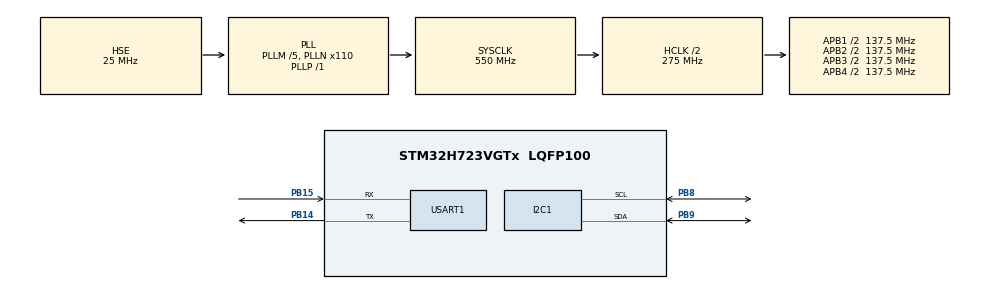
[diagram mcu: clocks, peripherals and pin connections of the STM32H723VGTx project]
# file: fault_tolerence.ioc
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CORTEX_M7.default_mode_Activation=1
FREERTOS.Tasks01=defaultTask,24,128,StartDefaultTask,Default,NULL,Dynamic,NULL,NULL
I2C1.Timing=0xD0922E33
Mcu.Family=STM32H7
Mcu.Name=STM32H723VGTx
Mcu.Package=LQFP100
NVIC.PriorityGroup=NVIC_PRIORITYGROUP_4
NVIC.TIM6_DAC_IRQn=true\:15\:0\:false\:false\:true\:false\:false\:true\:true
NVIC.TimeBase=TIM6_DAC_IRQn
NVIC.TimeBaseIP=TIM6
PB14.Mode=Asynchronous
PB14.Signal=USART1_TX
PB15.Mode=Asynchronous
PB15.Signal=USART1_RX
PB8.Mode=I2C
PB8.Signal=I2C1_SCL
PB9.Mode=I2C
PB9.Signal=I2C1_SDA
PH0-OSC_IN.Mode=HSE-External-Oscillator
PH0-OSC_IN.Signal=RCC_OSC_IN
PH1-OSC_OUT.Mode=HSE-External-Oscillator
PH1-OSC_OUT.Signal=RCC_OSC_OUT
ProjectManager.HeapSize=0x200
ProjectManager.StackSize=0x400
ProjectManager.TargetToolchain=STM32CubeIDE
RCC.ADCFreq_Value=50390625
RCC.APB1Freq_Value=137500000
RCC.APB2Freq_Value=137500000
RCC.APB3Freq_Value=137500000
RCC.APB4Freq_Value=137500000
RCC.CortexFreq_Value=550000000
RCC.D1PPRE=RCC_APB3_DIV2
RCC.D2PPRE1=RCC_APB1_DIV2
RCC.D2PPRE2=RCC_APB2_DIV2
RCC.D3PPRE=RCC_APB4_DIV2
RCC.DIVM1=5
RCC.DIVN1=110
RCC.DIVP1=1
RCC.HCLKFreq_Value=275000000
RCC.HPRE=RCC_HCLK_DIV2
RCC.PLLSourceVirtual=RCC_PLLSOURCE_HSE
RCC.SYSCLKFreq_VALUE=550000000
RCC.SYSCLKSource=RCC_SYSCLKSOURCE_PLLCLK
RCC.USBFreq_Value=275000000
USART1.VirtualMode-Asynchronous=VM_ASYNC
VP_FREERTOS_VS_CMSIS_V2.Mode=CMSIS_V2
VP_MEMORYMAP_VS_MEMORYMAP.Mode=CurAppReg
VP_SYS_VS_tim6.Mode=TIM6
board=custom

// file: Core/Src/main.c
/* USER CODE BEGIN Header */
/**
  ******************************************************************************
  * @file           : main.c
  * @brief          : Main program body
  ******************************************************************************
  * @attention
  *
  * Copyright (c) 2026 STMicroelectronics.
  * All rights reserved.
  *
  * This software is licensed under terms that can be found in the LICENSE file
  * in the root directory of this software component.
  * If no LICENSE file comes with this software, it is provided AS-IS.
  *
  ******************************************************************************
  */
/* USER CODE END Header */
#include "main.h"
#include "FreeRTOS.h"
#include "cmsis_os2.h"

/* USER CODE BEGIN Includes */
#include "app.h"
#include <stdio.h>
/* USER CODE END Includes */

I2C_HandleTypeDef hi2c1;

UART_HandleTypeDef huart1;

/* Definitions for defaultTask */
osThreadId_t defaultTaskHandle;
const osThreadAttr_t defaultTask_attributes = {
  .name = "defaultTask",
  .stack_size = 128 * 4,
  .priority = (osPriority_t) osPriorityNormal,
};
/* USER CODE BEGIN PV */
static uint8_t i2c_bus_idle_scl;
static uint8_t i2c_bus_idle_sda;
static uint8_t i2c_bus_pullup_scl;
static uint8_t i2c_bus_pullup_sda;

/* USER CODE END PV */

void SystemClock_Config(void);
static void MPU_Config(void);
static void MX_GPIO_Init(void);
static void MX_I2C1_Init(void);
static void MX_USART1_UART_Init(void);
void StartDefaultTask(void *argument);

/* USER CODE BEGIN PFP */
static void MPU6050_RawI2cDiagnostic(void);
/* USER CODE END PFP */

/* USER CODE BEGIN 0 */

void I2C1_ClearBus(void)
{
  GPIO_InitTypeDef gpio = {0};
  __HAL_RCC_GPIOB_CLK_ENABLE();
  gpio.Pin = GPIO_PIN_8 | GPIO_PIN_9;
  gpio.Mode = GPIO_MODE_OUTPUT_OD;
  gpio.Pull = GPIO_PULLUP;
  gpio.Speed = GPIO_SPEED_FREQ_LOW;
  HAL_GPIO_Init(GPIOB, &gpio);

  HAL_GPIO_WritePin(GPIOB, GPIO_PIN_8 | GPIO_PIN_9, GPIO_PIN_SET);
  for (volatile uint32_t delay = 0U; delay < 1000U; ++delay) { __NOP(); }
  for (uint32_t pulse = 0U; pulse < 16U; ++pulse)
  {
    if ((pulse >= 9U) && (HAL_GPIO_ReadPin(GPIOB, GPIO_PIN_9) == GPIO_PIN_SET)) break;
    HAL_GPIO_WritePin(GPIOB, GPIO_PIN_8, GPIO_PIN_RESET);
    for (volatile uint32_t delay = 0U; delay < 1000U; ++delay) { __NOP(); }
    HAL_GPIO_WritePin(GPIOB, GPIO_PIN_8, GPIO_PIN_SET);
    for (volatile uint32_t delay = 0U; delay < 1000U; ++delay) { __NOP(); }
  }
  HAL_GPIO_WritePin(GPIOB, GPIO_PIN_9, GPIO_PIN_RESET);
  for (volatile uint32_t delay = 0U; delay < 1000U; ++delay) { __NOP(); }
  HAL_GPIO_WritePin(GPIOB, GPIO_PIN_8, GPIO_PIN_SET);
  for (volatile uint32_t delay = 0U; delay < 1000U; ++delay) { __NOP(); }
  HAL_GPIO_WritePin(GPIOB, GPIO_PIN_9, GPIO_PIN_SET);
  for (volatile uint32_t delay = 0U; delay < 1000U; ++delay) { __NOP(); }
}

/* USER CODE END 0 */

int main(void)
{

  /* MPU Configuration--------------------------------------------------------*/
  MPU_Config();

  /* MCU Configuration--------------------------------------------------------*/

  /* Reset of all peripherals, Initializes the Flash interface and the Systick. */
  HAL_Init();

  /* USER CODE BEGIN Init */
  App_CaptureResetDiagnostics();

  /* USER CODE END Init */

  /* Configure the system clock */
  SystemClock_Config();

  /* Initialize all configured peripherals */
  MX_GPIO_Init();
  /* Capture PB8/PB9 electrical levels before I2C1 claims the pins. */
  GPIO_InitTypeDef i2c_bus_probe = {0};
  __HAL_RCC_GPIOB_CLK_ENABLE();
  i2c_bus_probe.Pin = GPIO_PIN_8 | GPIO_PIN_9;
  i2c_bus_probe.Mode = GPIO_MODE_INPUT;
  i2c_bus_probe.Pull = GPIO_NOPULL;
  i2c_bus_probe.Speed = GPIO_SPEED_FREQ_LOW;
  HAL_GPIO_Init(GPIOB, &i2c_bus_probe);
  i2c_bus_idle_scl = (HAL_GPIO_ReadPin(GPIOB, GPIO_PIN_8) == GPIO_PIN_SET) ? 1U : 0U;
  i2c_bus_idle_sda = (HAL_GPIO_ReadPin(GPIOB, GPIO_PIN_9) == GPIO_PIN_SET) ? 1U : 0U;
  i2c_bus_probe.Pull = GPIO_PULLUP;
  HAL_GPIO_Init(GPIOB, &i2c_bus_probe);
  i2c_bus_pullup_scl = (HAL_GPIO_ReadPin(GPIOB, GPIO_PIN_8) == GPIO_PIN_SET) ? 1U : 0U;
  i2c_bus_pullup_sda = (HAL_GPIO_ReadPin(GPIOB, GPIO_PIN_9) == GPIO_PIN_SET) ? 1U : 0U;
  I2C1_ClearBus();
  MX_I2C1_Init();
  MX_USART1_UART_Init();
  /* USER CODE BEGIN 2 */
  /* Independent of FreeRTOS, mutexes, sensor access, and the watchdog. */
  static const uint8_t uart_startup_banner[] =
      "\r\n[BOOT] USART1 PB14 TX READY @ 115200 8N1\r\n";
  (void)HAL_UART_Transmit(&huart1, (uint8_t *)uart_startup_banner,
                          sizeof(uart_startup_banner) - 1U, 100U);
  static const char *const i2c_level_name[] = { "LOW", "HIGH" };
  char i2c_bus_message[56];
  int i2c_bus_length = snprintf(i2c_bus_message, sizeof(i2c_bus_message),
                                "[I2C BUS] PB8/SCL=%s PB9/SDA=%s\r\n",
                                i2c_level_name[i2c_bus_idle_scl],
                                i2c_level_name[i2c_bus_idle_sda]);
  if (i2c_bus_length > 0)
  {
    (void)HAL_UART_Transmit(&huart1, (uint8_t *)i2c_bus_message,
                            (uint16_t)i2c_bus_length, 100U);
  }
  i2c_bus_length = snprintf(i2c_bus_message, sizeof(i2c_bus_message),
                            "[I2C PULLUP TEST] PB8/SCL=%s PB9/SDA=%s\r\n",
                            i2c_level_name[i2c_bus_pullup_scl],
                            i2c_level_name[i2c_bus_pullup_sda]);
  if (i2c_bus_length > 0)
  {
    (void)HAL_UART_Transmit(&huart1, (uint8_t *)i2c_bus_message,
                            (uint16_t)i2c_bus_length, 100U);
  }
  MPU6050_RawI2cDiagnostic();
  App_Initialize(&hi2c1, &huart1);
  static const uint8_t app_initialized_message[] = "[APP] App_Initialize OK\r\n";
  (void)HAL_UART_Transmit(&huart1, (uint8_t *)app_initialized_message,
                          sizeof(app_initialized_message) - 1U, 100U);

  /* USER CODE END 2 */

  /* Init scheduler */
  osKernelInitialize();

  /* Create the thread(s) */
  /* creation of defaultTask */
  defaultTaskHandle = osThreadNew(StartDefaultTask, NULL, &defaultTask_attributes);

  /* USER CODE BEGIN RTOS_THREADS */
  if (App_CreateTasks() != pdPASS)
  {
    static const uint8_t tasks_failed_message[] = "[APP] Task/IWDG setup FAILED\r\n";
    (void)HAL_UART_Transmit(&huart1, (uint8_t *)tasks_failed_message,
                            sizeof(tasks_failed_message) - 1U, 100U);
    Error_Handler();
  }
  static const uint8_t tasks_created_message[] = "[RTOS] Tasks created; IWDG started\r\n";
  (void)HAL_UART_Transmit(&huart1, (uint8_t *)tasks_created_message,
                          sizeof(tasks_created_message) - 1U, 100U);
  /* USER CODE END RTOS_THREADS */

  /* Start scheduler */
  osKernelStart();

  /* We should never get here as control is now taken by the scheduler */

  /* Infinite loop */
  while (1)
  {

  }
}

void SystemClock_Config(void)
{
  RCC_OscInitTypeDef RCC_OscInitStruct = {0};
  RCC_ClkInitTypeDef RCC_ClkInitStruct = {0};

  /** Supply configuration update enable
  */
  HAL_PWREx_ConfigSupply(PWR_LDO_SUPPLY);

  /** Configure the main internal regulator output voltage
  */
  __HAL_PWR_VOLTAGESCALING_CONFIG(PWR_REGULATOR_VOLTAGE_SCALE0);

  while(!__HAL_PWR_GET_FLAG(PWR_FLAG_VOSRDY)) {}

  /** Initializes the RCC Oscillators according to the specified parameters
  * in the RCC_OscInitTypeDef structure.
  */
  RCC_OscInitStruct.OscillatorType = RCC_OSCILLATORTYPE_HSE;
  RCC_OscInitStruct.HSEState = RCC_HSE_ON;
  RCC_OscInitStruct.PLL.PLLState = RCC_PLL_ON;
  RCC_OscInitStruct.PLL.PLLSource = RCC_PLLSOURCE_HSE;
  RCC_OscInitStruct.PLL.PLLM = 5;
  RCC_OscInitStruct.PLL.PLLN = 110;
  RCC_OscInitStruct.PLL.PLLP = 1;
  RCC_OscInitStruct.PLL.PLLQ = 2;
  RCC_OscInitStruct.PLL.PLLR = 2;
  RCC_OscInitStruct.PLL.PLLRGE = RCC_PLL1VCIRANGE_2;
  RCC_OscInitStruct.PLL.PLLVCOSEL = RCC_PLL1VCOWIDE;
  RCC_OscInitStruct.PLL.PLLFRACN = 0;
  if (HAL_RCC_OscConfig(&RCC_OscInitStruct) != HAL_OK)
  {
    Error_Handler();
  }

  /** Initializes the CPU, AHB and APB buses clocks
  */
  RCC_ClkInitStruct.ClockType = RCC_CLOCKTYPE_HCLK|RCC_CLOCKTYPE_SYSCLK
                              |RCC_CLOCKTYPE_PCLK1|RCC_CLOCKTYPE_PCLK2
                              |RCC_CLOCKTYPE_D3PCLK1|RCC_CLOCKTYPE_D1PCLK1;
  RCC_ClkInitStruct.SYSCLKSource = RCC_SYSCLKSOURCE_PLLCLK;
  RCC_ClkInitStruct.SYSCLKDivider = RCC_SYSCLK_DIV1;
  RCC_ClkInitStruct.AHBCLKDivider = RCC_HCLK_DIV2;
  RCC_ClkInitStruct.APB3CLKDivider = RCC_APB3_DIV2;
  RCC_ClkInitStruct.APB1CLKDivider = RCC_APB1_DIV2;
  RCC_ClkInitStruct.APB2CLKDivider = RCC_APB2_DIV2;
  RCC_ClkInitStruct.APB4CLKDivider = RCC_APB4_DIV2;

  if (HAL_RCC_ClockConfig(&RCC_ClkInitStruct, FLASH_LATENCY_3) != HAL_OK)
  {
    Error_Handler();
  }
}

static void MX_I2C1_Init(void)
{

  hi2c1.Instance = I2C1;
  hi2c1.Init.Timing = 0xD0922E33;
  hi2c1.Init.OwnAddress1 = 0;
  hi2c1.Init.AddressingMode = I2C_ADDRESSINGMODE_7BIT;
  hi2c1.Init.DualAddressMode = I2C_DUALADDRESS_DISABLE;
  hi2c1.Init.OwnAddress2 = 0;
  hi2c1.Init.OwnAddress2Masks = I2C_OA2_NOMASK;
  hi2c1.Init.GeneralCallMode = I2C_GENERALCALL_DISABLE;
  hi2c1.Init.NoStretchMode = I2C_NOSTRETCH_DISABLE;
  if (HAL_I2C_Init(&hi2c1) != HAL_OK)
  {
    Error_Handler();
  }

  /** Configure Analogue filter
  */
  if (HAL_I2CEx_ConfigAnalogFilter(&hi2c1, I2C_ANALOGFILTER_ENABLE) != HAL_OK)
  {
    Error_Handler();
  }

  /** Configure Digital filter
  */
  if (HAL_I2CEx_ConfigDigitalFilter(&hi2c1, 0) != HAL_OK)
  {
    Error_Handler();
  }

}

static void MX_USART1_UART_Init(void)
{

  huart1.Instance = USART1;
  huart1.Init.BaudRate = 115200;
  huart1.Init.WordLength = UART_WORDLENGTH_8B;
  huart1.Init.StopBits = UART_STOPBITS_1;
  huart1.Init.Parity = UART_PARITY_NONE;
  huart1.Init.Mode = UART_MODE_TX_RX;
  huart1.Init.HwFlowCtl = UART_HWCONTROL_NONE;
  huart1.Init.OverSampling = UART_OVERSAMPLING_16;
  huart1.Init.OneBitSampling = UART_ONE_BIT_SAMPLE_DISABLE;
  huart1.Init.ClockPrescaler = UART_PRESCALER_DIV1;
  huart1.AdvancedInit.AdvFeatureInit = UART_ADVFEATURE_NO_INIT;
  if (HAL_UART_Init(&huart1) != HAL_OK)
  {
    Error_Handler();
  }
  if (HAL_UARTEx_SetTxFifoThreshold(&huart1, UART_TXFIFO_THRESHOLD_1_8) != HAL_OK)
  {
    Error_Handler();
  }
  if (HAL_UARTEx_SetRxFifoThreshold(&huart1, UART_RXFIFO_THRESHOLD_1_8) != HAL_OK)
  {
    Error_Handler();
  }
  if (HAL_UARTEx_DisableFifoMode(&huart1) != HAL_OK)
  {
    Error_Handler();
  }

}

static void MX_GPIO_Init(void)
{

  /* GPIO Ports Clock Enable */
  __HAL_RCC_GPIOH_CLK_ENABLE();
  __HAL_RCC_GPIOB_CLK_ENABLE();

}

/* USER CODE BEGIN 4 */

/* Direct, pre-RTOS I2C probe: address 0x68 is shifted exactly once for HAL. */
static void MPU6050_RawI2cDiagnostic(void)
{
  char message[160];
  uint8_t who_am_i = 0U, pwr_before = 0U, pwr_after = 0U, raw[14] = {0};
  HAL_StatusTypeDef normal, normal_initial, pullup = HAL_ERROR, who = HAL_ERROR, pwr = HAL_ERROR, data = HAL_ERROR;
  uint32_t error, isr_before, isr_after;
  uint8_t pullup_ran = 0U, who_ran = 0U, pwr_ran = 0U, data_ran = 0U;
  GPIO_InitTypeDef gpio = {0};
  int length;

#define I2C_DIAG_PRINT(...) do { \
  length = snprintf(message, sizeof(message), __VA_ARGS__); \
  if (length > 0) (void)HAL_UART_Transmit(&huart1, (uint8_t *)message, (uint16_t)length, 200U); \
} while (0)

  I2C_DIAG_PRINT("[I2C CFG] source=D2PCLK1 PCLK1=%lu TIMING=0x%08lX CR1=0x%08lX CR2=0x%08lX ISR=0x%08lX PE=%lu\r\n",
                 (unsigned long)HAL_RCC_GetPCLK1Freq(),
                 (unsigned long)hi2c1.Init.Timing, (unsigned long)I2C1->CR1,
                 (unsigned long)I2C1->CR2, (unsigned long)I2C1->ISR,
                 (unsigned long)((I2C1->CR1 & I2C_CR1_PE) != 0U));
  I2C_DIAG_PRINT("[I2C CFG] addrmode=%lu own=0x%lX dual=%lu general=%lu nostretch=%lu\r\n",
                 (unsigned long)hi2c1.Init.AddressingMode, (unsigned long)hi2c1.Init.OwnAddress1,
                 (unsigned long)hi2c1.Init.DualAddressMode, (unsigned long)hi2c1.Init.GeneralCallMode,
                 (unsigned long)hi2c1.Init.NoStretchMode);
  isr_before = I2C1->ISR;
  I2C_DIAG_PRINT("[I2C BEFORE] ISR=0x%08lX state=%lu error=0x%08lX SCL=%u SDA=%u\r\n",
                 (unsigned long)isr_before, (unsigned long)HAL_I2C_GetState(&hi2c1),
                 (unsigned long)HAL_I2C_GetError(&hi2c1),
                 (unsigned)HAL_GPIO_ReadPin(GPIOB, GPIO_PIN_8), (unsigned)HAL_GPIO_ReadPin(GPIOB, GPIO_PIN_9));

  normal = HAL_I2C_IsDeviceReady(&hi2c1, (uint16_t)(0x68U << 1), 3U, 100U);
  normal_initial = normal;
  error = HAL_I2C_GetError(&hi2c1); isr_after = I2C1->ISR;
  I2C_DIAG_PRINT("[I2C TEST] addr=0x68 status=%d error=0x%08lX state=%lu ISR=0x%08lX SCL=%u SDA=%u\r\n",
                 (int)normal, (unsigned long)error, (unsigned long)HAL_I2C_GetState(&hi2c1),
                 (unsigned long)isr_after, (unsigned)HAL_GPIO_ReadPin(GPIOB, GPIO_PIN_8),
                 (unsigned)HAL_GPIO_ReadPin(GPIOB, GPIO_PIN_9));

  if (normal != HAL_OK) {
    /* Diagnostic variant only: AF4 I2C open-drain with internal pull-ups. */
    (void)HAL_I2C_DeInit(&hi2c1);
    MX_I2C1_Init();
    gpio.Pin = GPIO_PIN_8 | GPIO_PIN_9; gpio.Mode = GPIO_MODE_AF_OD;
    gpio.Pull = GPIO_PULLUP; gpio.Speed = GPIO_SPEED_FREQ_LOW; gpio.Alternate = GPIO_AF4_I2C1;
    HAL_GPIO_Init(GPIOB, &gpio);
    pullup_ran = 1U;
    pullup = HAL_I2C_IsDeviceReady(&hi2c1, (uint16_t)(0x68U << 1), 3U, 100U);
    error = HAL_I2C_GetError(&hi2c1);
    I2C_DIAG_PRINT("[I2C INTERNAL PU TEST] status=%d error=0x%08lX state=%lu ISR=0x%08lX SCL=%u SDA=%u\r\n",
                   (int)pullup, (unsigned long)error, (unsigned long)HAL_I2C_GetState(&hi2c1),
                   (unsigned long)I2C1->ISR, (unsigned)HAL_GPIO_ReadPin(GPIOB, GPIO_PIN_8),
                   (unsigned)HAL_GPIO_ReadPin(GPIOB, GPIO_PIN_9));
    (void)HAL_I2C_DeInit(&hi2c1);
    MX_I2C1_Init(); /* Final normal CubeMX AF4, open-drain, GPIO_NOPULL restoration. */
  }

  if (normal == HAL_OK) {
    who_ran = 1U;
    who = HAL_I2C_Mem_Read(&hi2c1, (uint16_t)(0x68U << 1), 0x75U, I2C_MEMADD_SIZE_8BIT, &who_am_i, 1U, 100U);
    I2C_DIAG_PRINT("[I2C TEST] WHO_AM_I status=%d value=0x%02X error=0x%08lX\r\n", (int)who, who_am_i, (unsigned long)HAL_I2C_GetError(&hi2c1));
    if (who == HAL_OK) {
      pwr_ran = 1U;
      pwr = HAL_I2C_Mem_Read(&hi2c1, (uint16_t)(0x68U << 1), 0x6BU, I2C_MEMADD_SIZE_8BIT, &pwr_before, 1U, 100U);
      if (pwr == HAL_OK) pwr = HAL_I2C_Mem_Write(&hi2c1, (uint16_t)(0x68U << 1), 0x6BU, I2C_MEMADD_SIZE_8BIT, (uint8_t[]){0U}, 1U, 100U);
      HAL_Delay(100U);
      if (pwr == HAL_OK) pwr = HAL_I2C_Mem_Read(&hi2c1, (uint16_t)(0x68U << 1), 0x6BU, I2C_MEMADD_SIZE_8BIT, &pwr_after, 1U, 100U);
      I2C_DIAG_PRINT("[I2C TEST] PWR_MGMT_1 status=%d before=0x%02X after=0x%02X error=0x%08lX\r\n", (int)pwr, pwr_before, pwr_after, (unsigned long)HAL_I2C_GetError(&hi2c1));
      if (pwr == HAL_OK) {
        data_ran = 1U;
        data = HAL_I2C_Mem_Read(&hi2c1, (uint16_t)(0x68U << 1), 0x3BU, I2C_MEMADD_SIZE_8BIT, raw, sizeof(raw), 100U);
      }
      I2C_DIAG_PRINT("[I2C TEST] 14-BYTE status=%d error=0x%08lX %02X %02X %02X %02X %02X %02X %02X %02X %02X %02X %02X %02X %02X %02X\r\n",
                     (int)data, (unsigned long)HAL_I2C_GetError(&hi2c1), raw[0],raw[1],raw[2],raw[3],raw[4],raw[5],raw[6],raw[7],raw[8],raw[9],raw[10],raw[11],raw[12],raw[13]);
    }
  }

  normal = HAL_I2C_IsDeviceReady(&hi2c1, (uint16_t)(0x68U << 1), 3U, 100U);
  error = HAL_I2C_GetError(&hi2c1);
  I2C_DIAG_PRINT("========== I2C DIAGNOSTIC SUMMARY ==========\r\n");
  I2C_DIAG_PRINT("GPIO NOPULL:       SCL=%s SDA=%s\r\n", i2c_bus_idle_scl ? "HIGH" : "LOW", i2c_bus_idle_sda ? "HIGH" : "LOW");
  I2C_DIAG_PRINT("GPIO PULLUP:       SCL=%s SDA=%s\r\n", i2c_bus_pullup_scl ? "HIGH" : "LOW", i2c_bus_pullup_sda ? "HIGH" : "LOW");
  I2C_DIAG_PRINT("I2C TIMINGR:       0x%08lX; ISR BEFORE: 0x%08lX\r\n", (unsigned long)I2C1->TIMINGR, (unsigned long)isr_before);
  I2C_DIAG_PRINT("I2C READY NORMAL:  %s; PULLUP: %s\r\n", normal_initial == HAL_OK ? "PASS" : "FAIL", pullup_ran ? (pullup == HAL_OK ? "PASS" : "FAIL") : "NOT_RUN");
  I2C_DIAG_PRINT("WHO_AM_I:          %s; PWR_MGMT_1: %s; 14-BYTE: %s\r\n", who_ran ? (who == HAL_OK ? "PASS" : "FAIL") : "NOT_RUN", pwr_ran ? (pwr == HAL_OK ? "PASS" : "FAIL") : "NOT_RUN", data_ran ? (data == HAL_OK ? "PASS" : "FAIL") : "NOT_RUN");
  I2C_DIAG_PRINT("FINAL NORMAL TEST: %s; HAL ERROR: 0x%08lX\r\n", normal == HAL_OK ? "PASS" : "FAIL", (unsigned long)error);
  I2C_DIAG_PRINT("LIKELY FAULT DOMAIN: %s\r\n==============================================\r\n", (normal_initial != HAL_OK && pullup_ran && pullup == HAL_OK) ? "PULL-UP" : (normal_initial != HAL_OK) ? "BUS / PERIPHERAL" : (who_ran && who != HAL_OK) ? "MPU REGISTER ACCESS" : "APPLICATION");
#undef I2C_DIAG_PRINT
}

/* USER CODE END 4 */

void StartDefaultTask(void *argument)
{
  for(;;)
  {
    osDelay(1);
  }
}

 /* MPU Configuration */

void MPU_Config(void)
{
  MPU_Region_InitTypeDef MPU_InitStruct = {0};

  /* Disables the MPU */
  HAL_MPU_Disable();

  /** Initializes and configures the Region and the memory to be protected
  */
  MPU_InitStruct.Enable = MPU_REGION_ENABLE;
  MPU_InitStruct.Number = MPU_REGION_NUMBER0;
  MPU_InitStruct.BaseAddress = 0x0;
  MPU_InitStruct.Size = MPU_REGION_SIZE_4GB;
  MPU_InitStruct.SubRegionDisable = 0x87;
  MPU_InitStruct.TypeExtField = MPU_TEX_LEVEL0;
  MPU_InitStruct.AccessPermission = MPU_REGION_NO_ACCESS;
  MPU_InitStruct.DisableExec = MPU_INSTRUCTION_ACCESS_DISABLE;
  MPU_InitStruct.IsShareable = MPU_ACCESS_SHAREABLE;
  MPU_InitStruct.IsCacheable = MPU_ACCESS_NOT_CACHEABLE;
  MPU_InitStruct.IsBufferable = MPU_ACCESS_NOT_BUFFERABLE;

  HAL_MPU_ConfigRegion(&MPU_InitStruct);
  /* Enables the MPU */
  HAL_MPU_Enable(MPU_PRIVILEGED_DEFAULT);

}

void HAL_TIM_PeriodElapsedCallback(TIM_HandleTypeDef *htim)
{
  if (htim->Instance == TIM6)
  {
    HAL_IncTick();
  }
}

void Error_Handler(void)
{
  __disable_irq();
  while (1)
  {
  }
}
